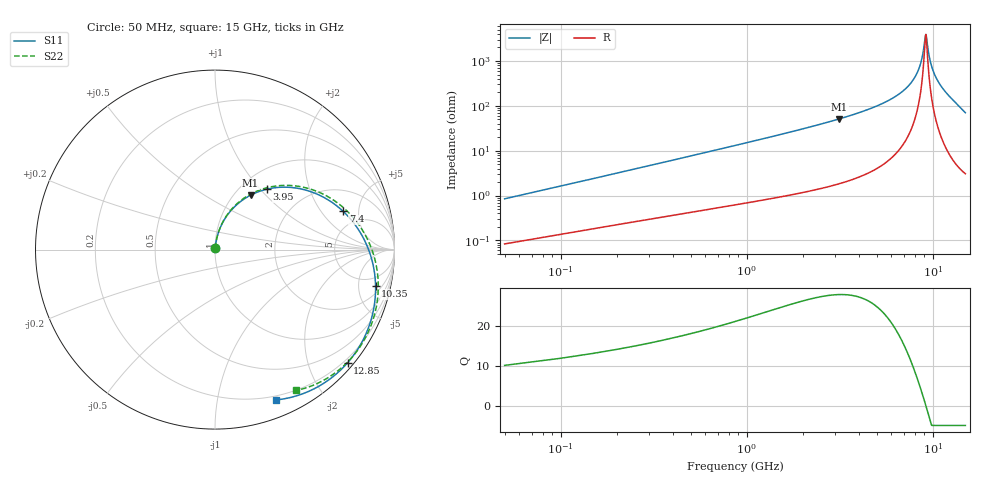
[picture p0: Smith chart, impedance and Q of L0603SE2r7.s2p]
!	AVX	Thin	Film	Operation	Date:		2004
!	Description:		"Series,"	Thin	"Film,"	"LGA,"	RF	Inductors
!	Part	Number:	L06032r7nH
!	50	MHz	-	15	GHz
!	Serial	Measurements
#	mhz	S	db	R	50
!	S11	S11	S21	S21	S12	S12	S22	S22
!	dB	Phase	dB	Phase	dB	Phase	dB	Phase
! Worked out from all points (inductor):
!   300 points, 50 MHz to 15 GHz, reference 50 ohm
!   read as 1/Y11, port 2 shorted: L = 2.54 nH near 100 MHz
!   highest Q = 27.8 at 3.15 GHz (marker M1), where L = 2.59 nH
!   self-resonance near 9.15 GHz
!   S11 on the Smith chart (normalised r, x): 50 MHz: 1.00, +0.01; 3.95 GHz: 1.30, +1.09; 7.4 GHz: 3.49, +3.35; 10.35 GHz: 3.07, -7.79; 12.85 GHz: 0.12, -2.71; 15 GHz: 0.16, -1.47
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50  -42.86 82.8  -0.01 -0.6  -0.01 -0.6  -42.86 82.8
100  -37.24 83.2  -0.01 -1.1  -0.01 -1.1  -37.24 83.2
150  -33.93 83.2  -0.02 -1.6  -0.02 -1.6  -33.93 83.2
250  -29.74 82.8  -0.03 -2.6  -0.03 -2.6  -29.74 82.9
650  -21.83 79.8  -0.07 -6.5  -0.07 -6.5  -21.83 80.0
1400  -15.45 73.2  -0.20 -13.8  -0.20 -13.8  -15.45 73.6
2550  -10.52 62.5  -0.52 -24.8  -0.52 -24.8  -10.52 63.2
3150  -8.82 56.8  -0.74 -30.4  -0.74 -30.4  -8.82 57.8
3950  -7.05 49.3  -1.12 -37.9  -1.12 -37.9  -7.05 50.5
5050  -5.19 38.9  -1.78 -48.1  -1.78 -48.1  -5.19 40.5
7400  -2.56 16.6  -3.93 -69.7  -3.93 -69.7  -2.55 19.0
7550  -2.43 15.2  -4.12 -71.1  -4.12 -71.1  -2.43 17.7
10050  -0.88 -9.6  -8.69 -93.7  -8.69 -93.7  -0.87 -6.0
10350  -0.75 -12.7  -9.57 -96.3  -9.57 -96.3  -0.75 -8.9
11750  -0.35 -27.8  -16.22 -105.5  -16.22 -105.5  -0.34 -23.1
12200  -0.28 -32.9  -20.59 -103.5  -20.59 -103.5  -0.27 -27.9
12550  -0.26 -37.0  -26.44 -88.8  -26.44 -88.8  -0.25 -31.7
12750  -0.25 -39.3  -30.64 -54.9  -30.64 -54.9  -0.24 -33.9
12850  -0.25 -40.5  -30.87 -26.2  -30.87 -26.2  -0.24 -35.0
13250  -0.28 -45.3  -22.79 24.3  -22.79 24.3  -0.27 -39.4
13650  -0.34 -50.3  -17.56 30.0  -17.56 30.0  -0.33 -44.0
15000  -0.88 -68.0  -9.14 20.7  -9.14 20.7  -0.86 -60.0
